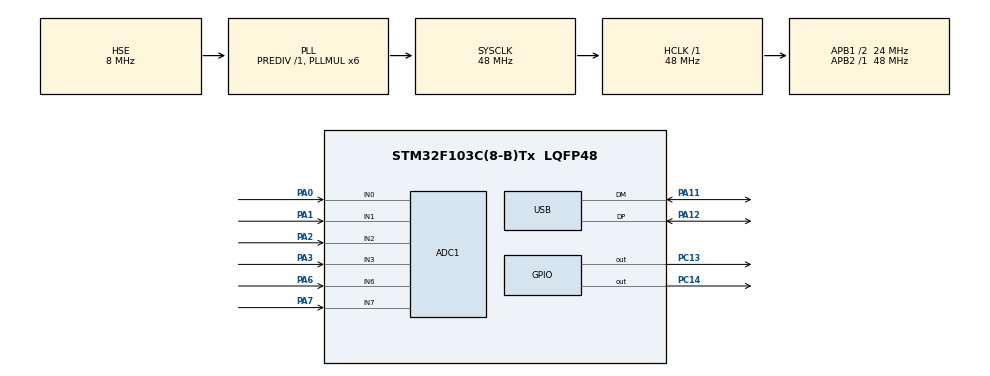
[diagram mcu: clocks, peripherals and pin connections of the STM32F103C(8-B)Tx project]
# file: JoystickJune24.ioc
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ADC1.Channel-0\#ChannelRegularConversion=ADC_CHANNEL_0
ADC1.Channel-1\#ChannelRegularConversion=ADC_CHANNEL_1
ADC1.Channel-2\#ChannelRegularConversion=ADC_CHANNEL_2
ADC1.Channel-3\#ChannelRegularConversion=ADC_CHANNEL_3
ADC1.ContinuousConvMode=DISABLE
ADC1.ExternalTrigConv=ADC_EXTERNALTRIGCONV_T3_TRGO
ADC1.NbrOfConversion=4
ADC1.NbrOfConversionFlag=1
ADC1.Rank-0\#ChannelRegularConversion=1
ADC1.Rank-1\#ChannelRegularConversion=2
ADC1.Rank-2\#ChannelRegularConversion=3
ADC1.Rank-3\#ChannelRegularConversion=4
ADC1.SamplingTime-0\#ChannelRegularConversion=ADC_SAMPLETIME_71CYCLES_5
ADC1.SamplingTime-1\#ChannelRegularConversion=ADC_SAMPLETIME_71CYCLES_5
ADC1.SamplingTime-2\#ChannelRegularConversion=ADC_SAMPLETIME_71CYCLES_5
ADC1.SamplingTime-3\#ChannelRegularConversion=ADC_SAMPLETIME_71CYCLES_5
ADC1.master=1
Dma.ADC1.0.Direction=DMA_PERIPH_TO_MEMORY
Dma.ADC1.0.Instance=DMA1_Channel1
Dma.ADC1.0.MemDataAlignment=DMA_MDATAALIGN_HALFWORD
Dma.ADC1.0.MemInc=DMA_MINC_ENABLE
Dma.ADC1.0.Mode=DMA_CIRCULAR
Dma.ADC1.0.PeriphDataAlignment=DMA_PDATAALIGN_HALFWORD
Dma.ADC1.0.PeriphInc=DMA_PINC_DISABLE
Dma.ADC1.0.Priority=DMA_PRIORITY_LOW
Dma.Request0=ADC1
Mcu.Family=STM32F1
Mcu.Name=STM32F103C(8-B)Tx
Mcu.Package=LQFP48
NVIC.DMA1_Channel1_IRQn=true\:0\:0\:false\:false\:true\:false\:true\:true
NVIC.PriorityGroup=NVIC_PRIORITYGROUP_4
NVIC.TIM3_IRQn=true\:0\:0\:false\:false\:true\:true\:true\:true
NVIC.USB_LP_CAN1_RX0_IRQn=true\:0\:0\:false\:false\:true\:false\:true\:true
PA0-WKUP.Signal=ADCx_IN0
PA1.Signal=ADCx_IN1
PA11.Mode=Device
PA11.Signal=USB_DM
PA12.Mode=Device
PA12.Signal=USB_DP
PA13.Mode=Serial_Wire
PA13.Signal=SYS_JTMS-SWDIO
PA14.Mode=Serial_Wire
PA14.Signal=SYS_JTCK-SWCLK
PA2.Signal=ADCx_IN2
PA3.Signal=ADCx_IN3
PA6.Signal=ADCx_IN6
PA7.Signal=ADCx_IN7
PC13-TAMPER-RTC.Signal=GPIO_Output
PC14-OSC32_IN.Signal=GPIO_Output
PD0-OSC_IN.Mode=HSE-External-Oscillator
PD0-OSC_IN.Signal=RCC_OSC_IN
PD1-OSC_OUT.Mode=HSE-External-Oscillator
PD1-OSC_OUT.Signal=RCC_OSC_OUT
ProjectManager.HeapSize=0x200
ProjectManager.StackSize=0x400
ProjectManager.TargetToolchain=STM32CubeIDE
RCC.ADCPresc=RCC_ADCPCLK2_DIV4
RCC.AHBFreq_Value=48000000
RCC.APB1CLKDivider=RCC_HCLK_DIV2
RCC.APB1Freq_Value=24000000
RCC.APB1TimFreq_Value=48000000
RCC.APB2Freq_Value=48000000
RCC.APB2TimFreq_Value=48000000
RCC.HCLKFreq_Value=48000000
RCC.PLLMUL=RCC_PLL_MUL6
RCC.SYSCLKFreq_VALUE=48000000
RCC.SYSCLKSource=RCC_SYSCLKSOURCE_PLLCLK
RCC.USBFreq_Value=48000000
SH.ADCx_IN0.0=ADC1_IN0,IN0
SH.ADCx_IN1.0=ADC1_IN1,IN1
SH.ADCx_IN2.0=ADC1_IN2,IN2
SH.ADCx_IN3.0=ADC1_IN3,IN3
SH.ADCx_IN6.0=ADC1_IN6,IN6
SH.ADCx_IN7.0=ADC1_IN7,IN7
TIM3.Period=60000
TIM3.Prescaler=2
TIM3.TIM_MasterOutputTrigger=TIM_TRGO_UPDATE
USB_DEVICE.CLASS_NAME_FS=HID
USB_DEVICE.VirtualMode=Hid
USB_DEVICE.VirtualModeFS=Hid_FS
VP_TIM3_VS_ClockSourceINT.Mode=Internal
VP_USB_DEVICE_VS_USB_DEVICE_HID_FS.Mode=HID_FS
board=custom

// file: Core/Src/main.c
/* USER CODE BEGIN Header */
/**
  ******************************************************************************
  * @file           : main.c
  * @brief          : Main program body
  ******************************************************************************
  * @attention
  *
  * Copyright (c) 2024 STMicroelectronics.
  * All rights reserved.
  *
  * This software is licensed under terms that can be found in the LICENSE file
  * in the root directory of this software component.
  * If no LICENSE file comes with this software, it is provided AS-IS.
  *
  ******************************************************************************
  */
/* USER CODE END Header */
#include "main.h"
#include "usb_device.h"

/* USER CODE BEGIN PD */
#define ADCBUFF	4*20 	// channels * samples

/* USER CODE END PD */

ADC_HandleTypeDef hadc1;
DMA_HandleTypeDef hdma_adc1;

TIM_HandleTypeDef htim3;

/* USER CODE BEGIN PV */
uint16_t adc_results[4]; // output adc
uint16_t adc_average[4]; // output of sliding average window filter
uint16_t adc_buffer[ADCBUFF]; // for sliding window average
uint16_t adc_complete = 0; // set to 1 when conversion is completed
/* USER CODE END PV */

void SystemClock_Config(void);
static void MX_GPIO_Init(void);
static void MX_DMA_Init(void);
static void MX_ADC1_Init(void);
static void MX_TIM3_Init(void);

int main(void)
{

  /* USER CODE BEGIN 1 */
  // HID Mouse
  typedef struct joyHID_t {
	  int16_t X;
	  int16_t Y;
	  int16_t Z;
	  int16_t Rx;
	  int16_t Ry;
	  int16_t Rz;
  }joyHID_t;
  joyHID_t mouseHID={
				 X: 0,
				 Y: 0,
				 Rx: 0,
				 Ry: 0};
  /* USER CODE END 1 */

  /* MCU Configuration--------------------------------------------------------*/

  /* Reset of all peripherals, Initializes the Flash interface and the Systick. */
  HAL_Init();

  /* Configure the system clock */
  SystemClock_Config();

  /* Initialize all configured peripherals */
  MX_GPIO_Init();
  MX_DMA_Init();
  MX_USB_DEVICE_Init();
  MX_ADC1_Init();
  MX_TIM3_Init();
  /* USER CODE BEGIN 2 */

  // Start timer1 (to time adc conversions)
  HAL_TIM_Base_Start_IT(&htim3);
  // Start the DMA
  HAL_ADC_Start_DMA(&hadc1, (uint32_t *) adc_results, sizeof(adc_results)/sizeof(adc_results[0]));
  // USB handle
  USBD_HandleTypeDef *pdev =  MX_USB_DEVICE_getHandle(); // get the handler for hid joystick device
  /* USER CODE END 2 */

  /* Infinite loop */
  /* USER CODE BEGIN WHILE */
  // buffer index
  uint16_t i = 0;
  while (1)
  {
    /* USER CODE END WHILE */

    /* USER CODE BEGIN 3 */

	  // wait for the adc to complete the acquisition
	  while(adc_complete == 0){}
	  // reset adc complete
	  adc_complete = 0;
	  // fill buffer
	  if (i > (ADCBUFF / 4))
	  {
		  i = 0;
	  }
	  adc_buffer[i * 4] = adc_results[0];
	  adc_buffer[i * 4 + 1] = adc_results[1];
	  adc_buffer[i * 4 + 2] = adc_results[2];
	  adc_buffer[i * 4 + 3] = adc_results[3];
	  // increase i
	  i++;
	  // perform average for each channel
	  adc_average[0] = 0; // reset average
	  adc_average[1] = 0;
	  adc_average[2] = 0;
	  adc_average[3] = 0;
	  for(int j = 0; j < ADCBUFF / 4; j++)
	  {
		  adc_average[0] += adc_buffer[j * 4] / (ADCBUFF / 4);
		  adc_average[1] += adc_buffer[j * 4 + 1] / (ADCBUFF / 4);
		  adc_average[2] += adc_buffer[j * 4 + 2] / (ADCBUFF / 4);
		  adc_average[3] += adc_buffer[j * 4 + 3] / (ADCBUFF / 4);
	  }
	  // SEND USB REPORT
	  mouseHID.X =	(int16_t) ((adc_average[0]) / 8); // for 8 bit output positive only
	  mouseHID.Y =	(int16_t) ((adc_average[1]) / 8);
	  mouseHID.Rx =	(int16_t) ((adc_average[2]) / 8);
	  mouseHID.Ry =	(int16_t) ((adc_average[3]) / 8);
	  USBD_HID_SendReport(pdev, &mouseHID, sizeof(joyHID_t));

  }
  /* USER CODE END 3 */
}

void SystemClock_Config(void)
{
  RCC_OscInitTypeDef RCC_OscInitStruct = {0};
  RCC_ClkInitTypeDef RCC_ClkInitStruct = {0};
  RCC_PeriphCLKInitTypeDef PeriphClkInit = {0};

  /** Initializes the RCC Oscillators according to the specified parameters
  * in the RCC_OscInitTypeDef structure.
  */
  RCC_OscInitStruct.OscillatorType = RCC_OSCILLATORTYPE_HSE;
  RCC_OscInitStruct.HSEState = RCC_HSE_ON;
  RCC_OscInitStruct.HSEPredivValue = RCC_HSE_PREDIV_DIV1;
  RCC_OscInitStruct.HSIState = RCC_HSI_ON;
  RCC_OscInitStruct.PLL.PLLState = RCC_PLL_ON;
  RCC_OscInitStruct.PLL.PLLSource = RCC_PLLSOURCE_HSE;
  RCC_OscInitStruct.PLL.PLLMUL = RCC_PLL_MUL6;
  if (HAL_RCC_OscConfig(&RCC_OscInitStruct) != HAL_OK)
  {
    Error_Handler();
  }

  /** Initializes the CPU, AHB and APB buses clocks
  */
  RCC_ClkInitStruct.ClockType = RCC_CLOCKTYPE_HCLK|RCC_CLOCKTYPE_SYSCLK
                              |RCC_CLOCKTYPE_PCLK1|RCC_CLOCKTYPE_PCLK2;
  RCC_ClkInitStruct.SYSCLKSource = RCC_SYSCLKSOURCE_PLLCLK;
  RCC_ClkInitStruct.AHBCLKDivider = RCC_SYSCLK_DIV1;
  RCC_ClkInitStruct.APB1CLKDivider = RCC_HCLK_DIV2;
  RCC_ClkInitStruct.APB2CLKDivider = RCC_HCLK_DIV1;

  if (HAL_RCC_ClockConfig(&RCC_ClkInitStruct, FLASH_LATENCY_1) != HAL_OK)
  {
    Error_Handler();
  }
  PeriphClkInit.PeriphClockSelection = RCC_PERIPHCLK_ADC|RCC_PERIPHCLK_USB;
  PeriphClkInit.AdcClockSelection = RCC_ADCPCLK2_DIV4;
  PeriphClkInit.UsbClockSelection = RCC_USBCLKSOURCE_PLL;
  if (HAL_RCCEx_PeriphCLKConfig(&PeriphClkInit) != HAL_OK)
  {
    Error_Handler();
  }
}

static void MX_ADC1_Init(void)
{

  ADC_ChannelConfTypeDef sConfig = {0};

  /** Common config
  */
  hadc1.Instance = ADC1;
  hadc1.Init.ScanConvMode = ADC_SCAN_ENABLE;
  hadc1.Init.ContinuousConvMode = DISABLE;
  hadc1.Init.DiscontinuousConvMode = DISABLE;
  hadc1.Init.ExternalTrigConv = ADC_EXTERNALTRIGCONV_T3_TRGO;
  hadc1.Init.DataAlign = ADC_DATAALIGN_RIGHT;
  hadc1.Init.NbrOfConversion = 4;
  if (HAL_ADC_Init(&hadc1) != HAL_OK)
  {
    Error_Handler();
  }

  /** Configure Regular Channel
  */
  sConfig.Channel = ADC_CHANNEL_0;
  sConfig.Rank = ADC_REGULAR_RANK_1;
  sConfig.SamplingTime = ADC_SAMPLETIME_71CYCLES_5;
  if (HAL_ADC_ConfigChannel(&hadc1, &sConfig) != HAL_OK)
  {
    Error_Handler();
  }

  /** Configure Regular Channel
  */
  sConfig.Channel = ADC_CHANNEL_1;
  sConfig.Rank = ADC_REGULAR_RANK_2;
  if (HAL_ADC_ConfigChannel(&hadc1, &sConfig) != HAL_OK)
  {
    Error_Handler();
  }

  /** Configure Regular Channel
  */
  sConfig.Channel = ADC_CHANNEL_2;
  sConfig.Rank = ADC_REGULAR_RANK_3;
  if (HAL_ADC_ConfigChannel(&hadc1, &sConfig) != HAL_OK)
  {
    Error_Handler();
  }

  /** Configure Regular Channel
  */
  sConfig.Channel = ADC_CHANNEL_3;
  sConfig.Rank = ADC_REGULAR_RANK_4;
  if (HAL_ADC_ConfigChannel(&hadc1, &sConfig) != HAL_OK)
  {
    Error_Handler();
  }

}

static void MX_TIM3_Init(void)
{

  TIM_ClockConfigTypeDef sClockSourceConfig = {0};
  TIM_MasterConfigTypeDef sMasterConfig = {0};

  htim3.Instance = TIM3;
  htim3.Init.Prescaler = 2;
  htim3.Init.CounterMode = TIM_COUNTERMODE_UP;
  htim3.Init.Period = 60000;
  htim3.Init.ClockDivision = TIM_CLOCKDIVISION_DIV1;
  htim3.Init.AutoReloadPreload = TIM_AUTORELOAD_PRELOAD_DISABLE;
  if (HAL_TIM_Base_Init(&htim3) != HAL_OK)
  {
    Error_Handler();
  }
  sClockSourceConfig.ClockSource = TIM_CLOCKSOURCE_INTERNAL;
  if (HAL_TIM_ConfigClockSource(&htim3, &sClockSourceConfig) != HAL_OK)
  {
    Error_Handler();
  }
  sMasterConfig.MasterOutputTrigger = TIM_TRGO_UPDATE;
  sMasterConfig.MasterSlaveMode = TIM_MASTERSLAVEMODE_DISABLE;
  if (HAL_TIMEx_MasterConfigSynchronization(&htim3, &sMasterConfig) != HAL_OK)
  {
    Error_Handler();
  }

}

static void MX_DMA_Init(void)
{

  /* DMA controller clock enable */
  __HAL_RCC_DMA1_CLK_ENABLE();

  /* DMA interrupt init */
  /* DMA1_Channel1_IRQn interrupt configuration */
  HAL_NVIC_SetPriority(DMA1_Channel1_IRQn, 0, 0);
  HAL_NVIC_EnableIRQ(DMA1_Channel1_IRQn);

}

static void MX_GPIO_Init(void)
{
  GPIO_InitTypeDef GPIO_InitStruct = {0};

  /* GPIO Ports Clock Enable */
  __HAL_RCC_GPIOC_CLK_ENABLE();
  __HAL_RCC_GPIOD_CLK_ENABLE();
  __HAL_RCC_GPIOA_CLK_ENABLE();

  /*Configure GPIO pin Output Level */
  HAL_GPIO_WritePin(GPIOC, GPIO_PIN_13|GPIO_PIN_14, GPIO_PIN_RESET);

  /*Configure GPIO pins : PC13 PC14 */
  GPIO_InitStruct.Pin = GPIO_PIN_13|GPIO_PIN_14;
  GPIO_InitStruct.Mode = GPIO_MODE_OUTPUT_PP;
  GPIO_InitStruct.Pull = GPIO_NOPULL;
  GPIO_InitStruct.Speed = GPIO_SPEED_FREQ_LOW;
  HAL_GPIO_Init(GPIOC, &GPIO_InitStruct);

}

/* USER CODE BEGIN 4 */
// define timer1 callback
void HAL_TIM_PeriodElapsedCallback(TIM_HandleTypeDef *htim)
{
	HAL_GPIO_WritePin(GPIOC, GPIO_PIN_13, GPIO_PIN_SET); // board led

	// this is done automaically by timer 3 event
	//HAL_ADC_Start_DMA(&hadc1,(uint32_t *) adc_results, 4); //trigger acquisition
}

// define adc completion callback
void HAL_ADC_ConvCpltCallback(ADC_HandleTypeDef* hadc)
{
	UNUSED(hadc);
	HAL_GPIO_WritePin(GPIOC, GPIO_PIN_13, GPIO_PIN_RESET); // board led
	adc_complete = 1; // set the flag (to be reset in while)
}

/* USER CODE END 4 */

void Error_Handler(void)
{
  __disable_irq();
  while (1)
  {
  }
}
